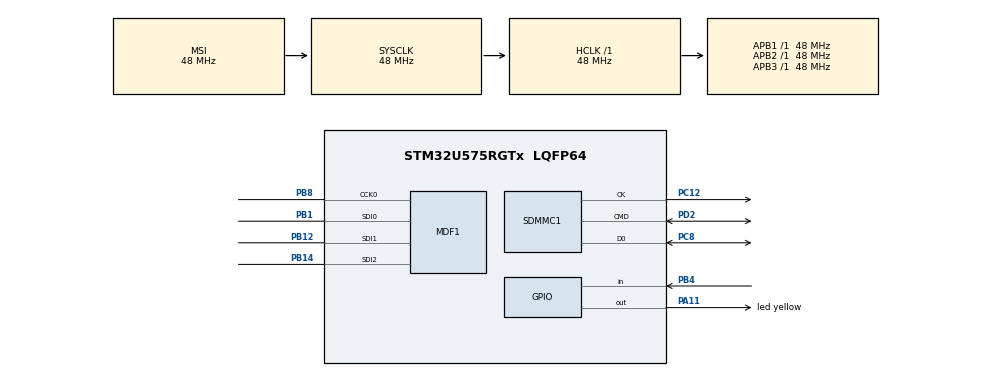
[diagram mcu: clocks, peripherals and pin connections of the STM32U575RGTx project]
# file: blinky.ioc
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CORTEX_M33_NS.userName=CORTEX_M33
GPDMA1.CIRCULARMODE_GPDMACH0=ENABLE
GPDMA1.DESTDATAWIDTH_GPDMACH0=DMA_DEST_DATAWIDTH_HALFWORD
GPDMA1.DESTINC_GPDMACH0=DMA_DINC_INCREMENTED
GPDMA1.IPHANDLE_GPDMACH0-SIMPLEREQUEST_GPDMACH0=__NULL
GPDMA1.REQUEST_GPDMACH0=GPDMA1_REQUEST_MDF1_FLT5
GPDMA1.SRCDATAWIDTH_GPDMACH0=DMA_SRC_DATAWIDTH_HALFWORD
MDF1.MDF_COMPARAM_ActivationOutputClock=ENABLE
MDF1.MDF_COMPARAM_Divider=2
MDF1.MDF_COMPARAM_InterleavedFilters=5
MDF1.MDF_COMPARAM_ProcClockDivider=2
MDF1.MDF_DFLT0_CIC_Mode=MDF_ONE_FILTER_SINC5
MDF1.MDF_DFLT0_Decimation=32
MDF1.MDF_DFLT0_HighPassCutOffFrequency=MDF_HPF_CUTOFF_0_00125FPCM
MDF1.MDF_DFLT0_HighPassFilterActivation=ENABLE
MDF1.MDF_DFLT0_ReshapeFilterActivation=ENABLE
MDF1.MDF_DFLT1_CIC_Mode=MDF_ONE_FILTER_SINC5
MDF1.MDF_DFLT1_Decimation=32
MDF1.MDF_DFLT1_FilterBistreamFront=FRONT_FALLING
MDF1.MDF_DFLT1_HighPassCutOffFrequency=MDF_HPF_CUTOFF_0_00125FPCM
MDF1.MDF_DFLT1_HighPassFilterActivation=ENABLE
MDF1.MDF_DFLT1_ReshapeFilterActivation=ENABLE
MDF1.MDF_DFLT2_CIC_Mode=MDF_ONE_FILTER_SINC5
MDF1.MDF_DFLT2_Decimation=32
MDF1.MDF_DFLT2_HighPassCutOffFrequency=MDF_HPF_CUTOFF_0_00125FPCM
MDF1.MDF_DFLT2_HighPassFilterActivation=ENABLE
MDF1.MDF_DFLT2_ReshapeFilterActivation=ENABLE
MDF1.MDF_DFLT2_SITF_Choice=MDF_DFLT_SITF1
MDF1.MDF_DFLT3_CIC_Mode=MDF_ONE_FILTER_SINC5
MDF1.MDF_DFLT3_Decimation=32
MDF1.MDF_DFLT3_FilterBistreamFront=FRONT_FALLING
MDF1.MDF_DFLT3_HighPassCutOffFrequency=MDF_HPF_CUTOFF_0_00125FPCM
MDF1.MDF_DFLT3_HighPassFilterActivation=ENABLE
MDF1.MDF_DFLT3_ReshapeFilterActivation=ENABLE
MDF1.MDF_DFLT3_SITF_Choice=MDF_DFLT_SITF1
MDF1.MDF_DFLT4_CIC_Mode=MDF_ONE_FILTER_SINC5
MDF1.MDF_DFLT4_Decimation=32
MDF1.MDF_DFLT4_HighPassCutOffFrequency=MDF_HPF_CUTOFF_0_00125FPCM
MDF1.MDF_DFLT4_HighPassFilterActivation=ENABLE
MDF1.MDF_DFLT4_ReshapeFilterActivation=ENABLE
MDF1.MDF_DFLT4_SITF_Choice=MDF_DFLT_SITF2
MDF1.MDF_DFLT5_CIC_Mode=MDF_ONE_FILTER_SINC5
MDF1.MDF_DFLT5_Decimation=32
MDF1.MDF_DFLT5_FilterBistreamFront=FRONT_FALLING
MDF1.MDF_DFLT5_HighPassCutOffFrequency=MDF_HPF_CUTOFF_0_00125FPCM
MDF1.MDF_DFLT5_HighPassFilterActivation=ENABLE
MDF1.MDF_DFLT5_ReshapeFilterActivation=ENABLE
MDF1.MDF_DFLT5_SITF_Choice=MDF_DFLT_SITF2
Mcu.Family=STM32U5
Mcu.Name=STM32U575RGTx
Mcu.Package=LQFP64
NVIC.GPDMA1_Channel0_IRQn=true\:0\:0\:false\:false\:true\:false\:true\:true
NVIC.MDF1_FLT0_IRQn=true\:0\:0\:false\:false\:true\:true\:true\:true
NVIC.MDF1_FLT1_IRQn=true\:0\:0\:false\:false\:true\:true\:true\:true
NVIC.MDF1_FLT2_IRQn=true\:0\:0\:false\:false\:true\:true\:true\:true
NVIC.MDF1_FLT3_IRQn=true\:0\:0\:false\:false\:true\:true\:true\:true
NVIC.MDF1_FLT4_IRQn=true\:0\:0\:false\:false\:true\:true\:true\:true
NVIC.MDF1_FLT5_IRQn=true\:0\:0\:false\:false\:true\:true\:true\:true
NVIC.PriorityGroup=NVIC_PRIORITYGROUP_4
NVIC.SDMMC1_IRQn=true\:0\:0\:false\:false\:true\:true\:true\:true
PA11.GPIO_Label=led yellow
PA11.Signal=GPIO_Output
PB1.Mode=MOD_MDF_SITF0_CCK0
PB1.Signal=MDF1_SDI0
PB12.Mode=MOD_MDF_SITF1_CCK0
PB12.Signal=MDF1_SDI1
PB14.Mode=MOD_MDF_SITF2_CCK0
PB14.Signal=MDF1_SDI2
PB4\ (NJTRST).GPIO_PuPd=GPIO_PULLUP
PB4\ (NJTRST).Signal=GPIO_Input
PB8.Mode=MOD_MDF_CCK0
PB8.Signal=MDF1_CCK0
PC12.Mode=SD_1_bit
PC12.Signal=SDMMC1_CK
PC8.Mode=SD_1_bit
PC8.Signal=SDMMC1_D0
PD2.Mode=SD_1_bit
PD2.Signal=SDMMC1_CMD
ProjectManager.HeapSize=0x200
ProjectManager.StackSize=0x400
ProjectManager.TargetToolchain=CMake
RCC.ADCFreq_Value=16000000
RCC.AHBFreq_Value=48000000
RCC.APB1Freq_Value=48000000
RCC.APB1TimFreq_Value=48000000
RCC.APB2Freq_Value=48000000
RCC.APB2TimFreq_Value=48000000
RCC.APB3Freq_Value=48000000
RCC.CortexFreq_Value=48000000
RCC.EPOD_VALUE=48000000
RCC.HCLKFreq_Value=48000000
RCC.HSE_VALUE=16000000
RCC.HSI48_VALUE=48000000
RCC.HSI_VALUE=16000000
RCC.LSE_VALUE=32768
RCC.LSIDIV_VALUE=32000
RCC.MSIClockRange=RCC_MSIRANGE_0
RCC.MSI_VALUE=48000000
RCC.MdfClockSelection=RCC_MDF1CLKSOURCE_PLL1
RCC.PLL1P=11
RCC.PLLFRACN=0
RCC.PLLM=3
RCC.PLLN=8
RCC.SYSCLKFreq_VALUE=48000000
RCC.USBFreq_Value=48000000
RCC.VCOOutputFreq_Value=128000000
SDMMC1.ClockDiv=0
SDMMC1.ClockEdge=SDMMC_CLOCK_EDGE_FALLING
VP_GPDMA1_VS_GPDMACH0.Mode=SIMPLEREQUEST_GPDMACH0
VP_ICACHE_VS_ENABLE_ICACHE_MEMORY.Mode=Memoryregions
VP_ICACHE_VS_ICACHE.Mode=DirectMappedCache
VP_LPBAMQUEUE_VS_QUEUE.Mode=QUEUEMODE
VP_LPBAM_VS_SIG1.Mode=SmartRun
VP_LPBAM_VS_SIG4.Mode=LPDMA1
VP_MDF1_VS_MDF_DFLT0.Mode=MOD_MDF_DFLT0
VP_MDF1_VS_MDF_DFLT1.Mode=MOD_MDF_DFLT1
VP_MDF1_VS_MDF_DFLT2.Mode=MOD_MDF_DFLT2
VP_MDF1_VS_MDF_DFLT3.Mode=MOD_MDF_DFLT3
VP_MDF1_VS_MDF_DFLT4.Mode=MOD_MDF_DFLT4
VP_MDF1_VS_MDF_DFLT5.Mode=MOD_MDF_DFLT5
VP_MEMORYMAP_VS_MEMORYMAP.Mode=CurAppReg
VP_PWR_VS_SECSignals.Mode=Security/Privilege
board=custom

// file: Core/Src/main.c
/* USER CODE BEGIN Header */
/**
  ******************************************************************************
  * @file           : main.c
  * @brief          : Main program body
  ******************************************************************************
  * @attention
  *
  * Copyright (c) 2025 STMicroelectronics.
  * All rights reserved.
  *
  * This software is licensed under terms that can be found in the LICENSE file
  * in the root directory of this software component.
  * If no LICENSE file comes with this software, it is provided AS-IS.
  *
  ******************************************************************************
  */
/* USER CODE END Header */
#include "main.h"

/* USER CODE BEGIN Includes */

#include <stdint.h>
#include <stdio.h>
#include <inttypes.h>
#include <math.h>
#include "app_pipeline.h"
#include "ff.h"
#include "sd_diskio_dma_standalone.h"
#include "stm32u5xx.h"
#include "stm32u5xx_hal.h"
#include "stm32u5xx_hal_conf.h"
#include "stm32u5xx_hal_def.h"
#include "stm32u5xx_hal_gpio.h"
#include "stm32u5xx_hal_mdf.h"

/* USER CODE END Includes */

MDF_HandleTypeDef MdfHandle0;
MDF_FilterConfigTypeDef MdfFilterConfig0;
MDF_HandleTypeDef MdfHandle1;
MDF_FilterConfigTypeDef MdfFilterConfig1;
MDF_HandleTypeDef MdfHandle2;
MDF_FilterConfigTypeDef MdfFilterConfig2;
MDF_HandleTypeDef MdfHandle3;
MDF_FilterConfigTypeDef MdfFilterConfig3;
MDF_HandleTypeDef MdfHandle4;
MDF_FilterConfigTypeDef MdfFilterConfig4;
MDF_HandleTypeDef MdfHandle5;
MDF_FilterConfigTypeDef MdfFilterConfig5;
DMA_NodeTypeDef Node_GPDMA1_Channel0;
DMA_QListTypeDef List_GPDMA1_Channel0;
DMA_HandleTypeDef handle_GPDMA1_Channel0;

SD_HandleTypeDef hsd1;

/* USER CODE BEGIN PV */
MDF_DmaConfigTypeDef pDmaConfig;

/*------definition of buffer constants ------*/
#define SAMPLES_COUNT 4096
#define SAMPLES_BYTES SAMPLES_COUNT*2
#define HALFSAMPLES SAMPLES_COUNT/2
#define HALFSAMPLESBYTES SAMPLES_BYTES/2

/*-------definition of buffer for DMAs--------*/

// called INTlVD as it DMA interleaved samples from filter0 and transfers it to the SD card
volatile int16_t INTLVD[SAMPLES_COUNT] __attribute__((aligned(32)));
int8_t  INTLVD_ready = 0;
int32_t bytes_recorded = 0;
// debugging
uint8_t MDF_DMA_ERROR_FLAG = 0;

/* ------ buffer split in two for double buffering -------*/
volatile uint16_t* SDBUFFER1 = (uint16_t*)INTLVD;
volatile uint16_t* SDBUFFER2 = (uint16_t*)INTLVD + HALFSAMPLES;

/* --------DMA FLAGS-------------*/
volatile uint8_t CPLT, HALFCPLT = 0;
uint8_t MDFTESTFLAG = 0;

/* ---------Audio hardware parameters -------*/
uint32_t sample_rate = 24000;
uint32_t channels = 6;
uint32_t bitrate = 16;

// this tells the pipeline what recording number we are on
uint32_t recording_number = 1;

/* USER CODE END PV */

void SystemClock_Config(void);
static void MX_GPIO_Init(void);
static void MX_GPDMA1_Init(void);
static void MX_ICACHE_Init(void);
static void MX_MDF1_Init(void);
static void MX_SDMMC1_SD_Init(void);

int main(void)
{

  /* MCU Configuration--------------------------------------------------------*/

  /* Reset of all peripherals, Initializes the Flash interface and the Systick. */
  HAL_Init();

  /* Configure the system clock */
  SystemClock_Config();

  /* Initialize all configured peripherals */
  MX_GPIO_Init();
  MX_GPDMA1_Init();
  MX_ICACHE_Init();
  MX_MDF1_Init();
  MX_SDMMC1_SD_Init();
  /* USER CODE BEGIN 2 */

  /*--------- initialise SD card -----------*/
  if(SD_Pipeline_Init() != PIPELINE_OK){
    // printf("init of sd failed\n");
    Error_Handler();
  }

  /* ----------start the pipeline------------ */

  // this function creates the header for a new WAV file
  if(SD_Pipeline_NewRec(recording_name, recording_number, sample_rate, channels, bitrate,
    recording_length)!=PIPELINE_OK){
    // printf("init of pipeline failed\n");
    Error_Handler();
  }

  /*---------link DMA to MDF-----------*/

  pDmaConfig.MsbOnly = ENABLE;
  pDmaConfig.Address = (uint32_t) INTLVD;
  // data length is samples count * 2, because 16 bit sample consists of 2 bytes
  pDmaConfig.DataLength = SAMPLES_COUNT * 2;

  /*------start all the MDF instances -------*/

  if(HAL_MDF_AcqStart(&MdfHandle1, &MdfFilterConfig1) != HAL_OK){
    Error_Handler();
  }
  if(HAL_MDF_AcqStart(&MdfHandle2, &MdfFilterConfig2) != HAL_OK){
    Error_Handler();
  }
  if(HAL_MDF_AcqStart(&MdfHandle3, &MdfFilterConfig3) != HAL_OK){
    Error_Handler();
  }
  if(HAL_MDF_AcqStart(&MdfHandle4, &MdfFilterConfig4) != HAL_OK){
    Error_Handler();
  }
  if(HAL_MDF_AcqStart(&MdfHandle5, &MdfFilterConfig5) != HAL_OK){
    Error_Handler();
  }
  // configure filter0 as the interleaved communicator with the SD card
  if(HAL_MDF_AcqStart_DMA(&MdfHandle0, &MdfFilterConfig0, &pDmaConfig) != HAL_OK){
    f_close(&SD_File_PIPELINE);
    Error_Handler();
  }

  /* USER CODE END 2 */

  /* Infinite loop */
  /* USER CODE BEGIN WHILE */
  while (1)
  {
     if (INTLVD_ready)
      {
        HAL_MDF_AcqStop_DMA(&MdfHandle0);
        SD_Pipeline_StopRec();
        // printf("SUCCESS! File creation complete\n");
        INTLVD_ready = 0;
        while(1){
          HAL_GPIO_TogglePin(led_yellow_GPIO_Port, led_yellow_Pin);
          HAL_Delay(200);
        }
      }

      if(HALFCPLT){
        //unset flag
        HALFCPLT = 0;

        //calculate how many bytes are left in audio recording
        int32_t temp = (bytes_to_read<HALFSAMPLESBYTES) ? bytes_to_read : HALFSAMPLESBYTES;

        //if more than zero, continue - else set flag for completed transfer
        if(temp > 0){
        if(SD_Pipeline_Write((uint8_t*) SDBUFFER1, temp) != PIPELINE_OK) MDF_DMA_ERROR_FLAG = 1;

        // decrement bytes to read
        bytes_to_read = bytes_to_read - temp;
        }
        else{
          INTLVD_ready = 1;
        }
      }

      //duplicate above logic
      if(CPLT){
        // int32_t write_start = HAL_GetTick();
        //unset flag
        CPLT = 0;
        //calculate how many bytes are left in audio recording
        int32_t temp = (bytes_to_read<HALFSAMPLESBYTES) ? bytes_to_read : HALFSAMPLESBYTES;

        //if more than zero, continue - else set flag for completed transfer
        if(temp > 0){
        if(SD_Pipeline_Write((uint8_t*) SDBUFFER2, temp) != PIPELINE_OK) MDF_DMA_ERROR_FLAG = 1;

        //decrement bytes to read
        bytes_to_read = bytes_to_read - temp;
        // int32_t write_end = HAL_GetTick();
        // printf("wrote %li bytes in %li ms\n",temp, write_end-write_start);
        }
        else{
          INTLVD_ready = 1;
        }

      }

    /* USER CODE END WHILE */

  }
}

void SystemClock_Config(void)
{
  RCC_OscInitTypeDef RCC_OscInitStruct = {0};
  RCC_ClkInitTypeDef RCC_ClkInitStruct = {0};

  /** Configure the main internal regulator output voltage
  */
  if (HAL_PWREx_ControlVoltageScaling(PWR_REGULATOR_VOLTAGE_SCALE3) != HAL_OK)
  {
    Error_Handler();
  }

  /** Initializes the CPU, AHB and APB buses clocks
  */
  RCC_OscInitStruct.OscillatorType = RCC_OSCILLATORTYPE_MSI;
  RCC_OscInitStruct.MSIState = RCC_MSI_ON;
  RCC_OscInitStruct.MSICalibrationValue = RCC_MSICALIBRATION_DEFAULT;
  RCC_OscInitStruct.MSIClockRange = RCC_MSIRANGE_0;
  RCC_OscInitStruct.PLL.PLLState = RCC_PLL_ON;
  RCC_OscInitStruct.PLL.PLLSource = RCC_PLLSOURCE_MSI;
  RCC_OscInitStruct.PLL.PLLMBOOST = RCC_PLLMBOOST_DIV4;
  RCC_OscInitStruct.PLL.PLLM = 3;
  RCC_OscInitStruct.PLL.PLLN = 8;
  RCC_OscInitStruct.PLL.PLLP = 11;
  RCC_OscInitStruct.PLL.PLLQ = 2;
  RCC_OscInitStruct.PLL.PLLR = 2;
  RCC_OscInitStruct.PLL.PLLRGE = RCC_PLLVCIRANGE_1;
  RCC_OscInitStruct.PLL.PLLFRACN = 0;
  if (HAL_RCC_OscConfig(&RCC_OscInitStruct) != HAL_OK)
  {
    Error_Handler();
  }

  /** Initializes the CPU, AHB and APB buses clocks
  */
  RCC_ClkInitStruct.ClockType = RCC_CLOCKTYPE_HCLK|RCC_CLOCKTYPE_SYSCLK
                              |RCC_CLOCKTYPE_PCLK1|RCC_CLOCKTYPE_PCLK2
                              |RCC_CLOCKTYPE_PCLK3;
  RCC_ClkInitStruct.SYSCLKSource = RCC_SYSCLKSOURCE_MSI;
  RCC_ClkInitStruct.AHBCLKDivider = RCC_SYSCLK_DIV1;
  RCC_ClkInitStruct.APB1CLKDivider = RCC_HCLK_DIV1;
  RCC_ClkInitStruct.APB2CLKDivider = RCC_HCLK_DIV1;
  RCC_ClkInitStruct.APB3CLKDivider = RCC_HCLK_DIV1;

  if (HAL_RCC_ClockConfig(&RCC_ClkInitStruct, FLASH_LATENCY_1) != HAL_OK)
  {
    Error_Handler();
  }
}

static void MX_GPDMA1_Init(void)
{

  /* Peripheral clock enable */
  __HAL_RCC_GPDMA1_CLK_ENABLE();

  /* GPDMA1 interrupt Init */
    HAL_NVIC_SetPriority(GPDMA1_Channel0_IRQn, 0, 0);
    HAL_NVIC_EnableIRQ(GPDMA1_Channel0_IRQn);

}

static void MX_ICACHE_Init(void)
{

  /** Enable instruction cache in 1-way (direct mapped cache)
  */
  if (HAL_ICACHE_ConfigAssociativityMode(ICACHE_1WAY) != HAL_OK)
  {
    Error_Handler();
  }
  if (HAL_ICACHE_Enable() != HAL_OK)
  {
    Error_Handler();
  }

}

static void MX_MDF1_Init(void)
{

  /* USER CODE BEGIN MDF1_Init 0 */

  MdfHandle3.Init.FilterBistream = MDF_BITSTREAM1_FALLING;

  MdfHandle4.Init.FilterBistream = MDF_BITSTREAM2_RISING;

  MdfHandle5.Init.FilterBistream = MDF_BITSTREAM2_FALLING;

  /* USER CODE END MDF1_Init 0 */

  /**
    MdfHandle0 structure initialization and HAL_MDF_Init function call
  */
  MdfHandle0.Instance = MDF1_Filter0;
  MdfHandle0.Init.CommonParam.InterleavedFilters = 5;
  MdfHandle0.Init.CommonParam.ProcClockDivider = 2;
  MdfHandle0.Init.CommonParam.OutputClock.Activation = ENABLE;
  MdfHandle0.Init.CommonParam.OutputClock.Pins = MDF_OUTPUT_CLOCK_0;
  MdfHandle0.Init.CommonParam.OutputClock.Divider = 2;
  MdfHandle0.Init.CommonParam.OutputClock.Trigger.Activation = DISABLE;
  MdfHandle0.Init.SerialInterface.Activation = ENABLE;
  MdfHandle0.Init.SerialInterface.Mode = MDF_SITF_LF_MASTER_SPI_MODE;
  MdfHandle0.Init.SerialInterface.ClockSource = MDF_SITF_CCK0_SOURCE;
  MdfHandle0.Init.SerialInterface.Threshold = 4;
  MdfHandle0.Init.FilterBistream = MDF_BITSTREAM0_RISING;
  if (HAL_MDF_Init(&MdfHandle0) != HAL_OK)
  {
    Error_Handler();
  }

  /**
    MdfFilterConfig0, MdfOldConfig0 and/or MdfScdConfig0 structures initialization

    WARNING : only structures are filled, no specific init function call for filter
  */
  MdfFilterConfig0.DataSource = MDF_DATA_SOURCE_BSMX;
  MdfFilterConfig0.Delay = 0;
  MdfFilterConfig0.CicMode = MDF_ONE_FILTER_SINC5;
  MdfFilterConfig0.DecimationRatio = 32;
  MdfFilterConfig0.Offset = 0;
  MdfFilterConfig0.Gain = 0;
  MdfFilterConfig0.ReshapeFilter.Activation = ENABLE;
  MdfFilterConfig0.ReshapeFilter.DecimationRatio = MDF_RSF_DECIMATION_RATIO_4;
  MdfFilterConfig0.HighPassFilter.Activation = ENABLE;
  MdfFilterConfig0.HighPassFilter.CutOffFrequency = MDF_HPF_CUTOFF_0_00125FPCM;
  MdfFilterConfig0.Integrator.Activation = DISABLE;
  MdfFilterConfig0.SoundActivity.Activation = DISABLE;
  MdfFilterConfig0.AcquisitionMode = MDF_MODE_ASYNC_CONT;
  MdfFilterConfig0.FifoThreshold = MDF_FIFO_THRESHOLD_NOT_EMPTY;
  MdfFilterConfig0.DiscardSamples = 0;

  /**
    MdfHandle1 structure initialization and HAL_MDF_Init function call
  */
  MdfHandle1.Instance = MDF1_Filter1;
  MdfHandle1.Init.CommonParam.InterleavedFilters = 5;
  MdfHandle1.Init.CommonParam.ProcClockDivider = 2;
  MdfHandle1.Init.CommonParam.OutputClock.Activation = ENABLE;
  MdfHandle1.Init.CommonParam.OutputClock.Pins = MDF_OUTPUT_CLOCK_0;
  MdfHandle1.Init.CommonParam.OutputClock.Divider = 2;
  MdfHandle1.Init.CommonParam.OutputClock.Trigger.Activation = DISABLE;
  MdfHandle1.Init.SerialInterface.Activation = ENABLE;
  MdfHandle1.Init.SerialInterface.Mode = MDF_SITF_LF_MASTER_SPI_MODE;
  MdfHandle1.Init.SerialInterface.ClockSource = MDF_SITF_CCK0_SOURCE;
  MdfHandle1.Init.SerialInterface.Threshold = 4;
  MdfHandle1.Init.FilterBistream = MDF_BITSTREAM0_FALLING;
  if (HAL_MDF_Init(&MdfHandle1) != HAL_OK)
  {
    Error_Handler();
  }

  /**
    MdfFilterConfig1, MdfOldConfig1 and/or MdfScdConfig1 structures initialization

    WARNING : only structures are filled, no specific init function call for filter
  */
  MdfFilterConfig1.DataSource = MDF_DATA_SOURCE_BSMX;
  MdfFilterConfig1.Delay = 0;
  MdfFilterConfig1.CicMode = MDF_ONE_FILTER_SINC5;
  MdfFilterConfig1.DecimationRatio = 32;
  MdfFilterConfig1.Offset = 0;
  MdfFilterConfig1.Gain = 0;
  MdfFilterConfig1.ReshapeFilter.Activation = ENABLE;
  MdfFilterConfig1.ReshapeFilter.DecimationRatio = MDF_RSF_DECIMATION_RATIO_4;
  MdfFilterConfig1.HighPassFilter.Activation = ENABLE;
  MdfFilterConfig1.HighPassFilter.CutOffFrequency = MDF_HPF_CUTOFF_0_00125FPCM;
  MdfFilterConfig1.Integrator.Activation = DISABLE;
  MdfFilterConfig1.AcquisitionMode = MDF_MODE_ASYNC_CONT;
  MdfFilterConfig1.FifoThreshold = MDF_FIFO_THRESHOLD_NOT_EMPTY;
  MdfFilterConfig1.DiscardSamples = 0;

  /**
    MdfHandle2 structure initialization and HAL_MDF_Init function call
  */
  MdfHandle2.Instance = MDF1_Filter2;
  MdfHandle2.Init.CommonParam.InterleavedFilters = 5;
  MdfHandle2.Init.CommonParam.ProcClockDivider = 2;
  MdfHandle2.Init.CommonParam.OutputClock.Activation = ENABLE;
  MdfHandle2.Init.CommonParam.OutputClock.Pins = MDF_OUTPUT_CLOCK_0;
  MdfHandle2.Init.CommonParam.OutputClock.Divider = 2;
  MdfHandle2.Init.CommonParam.OutputClock.Trigger.Activation = DISABLE;
  MdfHandle2.Init.SerialInterface.Activation = ENABLE;
  MdfHandle2.Init.SerialInterface.Mode = MDF_SITF_LF_MASTER_SPI_MODE;
  MdfHandle2.Init.SerialInterface.ClockSource = MDF_SITF_CCK0_SOURCE;
  MdfHandle2.Init.SerialInterface.Threshold = 4;
  MdfHandle2.Init.FilterBistream = MDF_BITSTREAM1_RISING;
  if (HAL_MDF_Init(&MdfHandle2) != HAL_OK)
  {
    Error_Handler();
  }

  /**
    MdfFilterConfig2, MdfOldConfig2 and/or MdfScdConfig2 structures initialization

    WARNING : only structures are filled, no specific init function call for filter
  */
  MdfFilterConfig2.DataSource = MDF_DATA_SOURCE_BSMX;
  MdfFilterConfig2.Delay = 0;
  MdfFilterConfig2.CicMode = MDF_ONE_FILTER_SINC5;
  MdfFilterConfig2.DecimationRatio = 32;
  MdfFilterConfig2.Offset = 0;
  MdfFilterConfig2.Gain = 0;
  MdfFilterConfig2.ReshapeFilter.Activation = ENABLE;
  MdfFilterConfig2.ReshapeFilter.DecimationRatio = MDF_RSF_DECIMATION_RATIO_4;
  MdfFilterConfig2.HighPassFilter.Activation = ENABLE;
  MdfFilterConfig2.HighPassFilter.CutOffFrequency = MDF_HPF_CUTOFF_0_00125FPCM;
  MdfFilterConfig2.Integrator.Activation = DISABLE;
  MdfFilterConfig2.SoundActivity.Activation = DISABLE;
  MdfFilterConfig2.AcquisitionMode = MDF_MODE_ASYNC_CONT;
  MdfFilterConfig2.FifoThreshold = MDF_FIFO_THRESHOLD_NOT_EMPTY;
  MdfFilterConfig2.DiscardSamples = 0;

  /**
    MdfHandle3 structure initialization and HAL_MDF_Init function call
  */
  MdfHandle3.Instance = MDF1_Filter3;
  MdfHandle3.Init.CommonParam.InterleavedFilters = 5;
  MdfHandle3.Init.CommonParam.ProcClockDivider = 2;
  MdfHandle3.Init.CommonParam.OutputClock.Activation = ENABLE;
  MdfHandle3.Init.CommonParam.OutputClock.Pins = MDF_OUTPUT_CLOCK_0;
  MdfHandle3.Init.CommonParam.OutputClock.Divider = 2;
  MdfHandle3.Init.CommonParam.OutputClock.Trigger.Activation = DISABLE;
  MdfHandle3.Init.SerialInterface.Activation = DISABLE;
  if (HAL_MDF_Init(&MdfHandle3) != HAL_OK)
  {
    Error_Handler();
  }

  /**
    MdfFilterConfig3, MdfOldConfig3 and/or MdfScdConfig3 structures initialization

    WARNING : only structures are filled, no specific init function call for filter
  */
  MdfFilterConfig3.DataSource = MDF_DATA_SOURCE_BSMX;
  MdfFilterConfig3.Delay = 0;
  MdfFilterConfig3.CicMode = MDF_ONE_FILTER_SINC5;
  MdfFilterConfig3.DecimationRatio = 32;
  MdfFilterConfig3.Offset = 0;
  MdfFilterConfig3.Gain = 0;
  MdfFilterConfig3.ReshapeFilter.Activation = ENABLE;
  MdfFilterConfig3.ReshapeFilter.DecimationRatio = MDF_RSF_DECIMATION_RATIO_4;
  MdfFilterConfig3.HighPassFilter.Activation = ENABLE;
  MdfFilterConfig3.HighPassFilter.CutOffFrequency = MDF_HPF_CUTOFF_0_00125FPCM;
  MdfFilterConfig3.Integrator.Activation = DISABLE;
  MdfFilterConfig3.SoundActivity.Activation = DISABLE;
  MdfFilterConfig3.AcquisitionMode = MDF_MODE_ASYNC_CONT;
  MdfFilterConfig3.FifoThreshold = MDF_FIFO_THRESHOLD_NOT_EMPTY;
  MdfFilterConfig3.DiscardSamples = 0;

  /**
    MdfHandle4 structure initialization and HAL_MDF_Init function call
  */
  MdfHandle4.Instance = MDF1_Filter4;
  MdfHandle4.Init.CommonParam.InterleavedFilters = 5;
  MdfHandle4.Init.CommonParam.ProcClockDivider = 2;
  MdfHandle4.Init.CommonParam.OutputClock.Activation = ENABLE;
  MdfHandle4.Init.CommonParam.OutputClock.Pins = MDF_OUTPUT_CLOCK_0;
  MdfHandle4.Init.CommonParam.OutputClock.Divider = 2;
  MdfHandle4.Init.CommonParam.OutputClock.Trigger.Activation = DISABLE;
  MdfHandle4.Init.SerialInterface.Activation = DISABLE;
  if (HAL_MDF_Init(&MdfHandle4) != HAL_OK)
  {
    Error_Handler();
  }

  /**
    MdfFilterConfig4, MdfOldConfig4 and/or MdfScdConfig4 structures initialization

    WARNING : only structures are filled, no specific init function call for filter
  */
  MdfFilterConfig4.DataSource = MDF_DATA_SOURCE_BSMX;
  MdfFilterConfig4.Delay = 0;
  MdfFilterConfig4.CicMode = MDF_ONE_FILTER_SINC5;
  MdfFilterConfig4.DecimationRatio = 32;
  MdfFilterConfig4.Offset = 0;
  MdfFilterConfig4.Gain = 0;
  MdfFilterConfig4.ReshapeFilter.Activation = ENABLE;
  MdfFilterConfig4.ReshapeFilter.DecimationRatio = MDF_RSF_DECIMATION_RATIO_4;
  MdfFilterConfig4.HighPassFilter.Activation = ENABLE;
  MdfFilterConfig4.HighPassFilter.CutOffFrequency = MDF_HPF_CUTOFF_0_00125FPCM;
  MdfFilterConfig4.Integrator.Activation = DISABLE;
  MdfFilterConfig4.SoundActivity.Activation = DISABLE;
  MdfFilterConfig4.AcquisitionMode = MDF_MODE_ASYNC_CONT;
  MdfFilterConfig4.FifoThreshold = MDF_FIFO_THRESHOLD_NOT_EMPTY;
  MdfFilterConfig4.DiscardSamples = 0;

  /**
    MdfHandle5 structure initialization and HAL_MDF_Init function call
  */
  MdfHandle5.Instance = MDF1_Filter5;
  MdfHandle5.Init.CommonParam.InterleavedFilters = 5;
  MdfHandle5.Init.CommonParam.ProcClockDivider = 2;
  MdfHandle5.Init.CommonParam.OutputClock.Activation = ENABLE;
  MdfHandle5.Init.CommonParam.OutputClock.Pins = MDF_OUTPUT_CLOCK_0;
  MdfHandle5.Init.CommonParam.OutputClock.Divider = 2;
  MdfHandle5.Init.CommonParam.OutputClock.Trigger.Activation = DISABLE;
  MdfHandle5.Init.SerialInterface.Activation = DISABLE;
  if (HAL_MDF_Init(&MdfHandle5) != HAL_OK)
  {
    Error_Handler();
  }

  /**
    MdfFilterConfig5, MdfOldConfig5 and/or MdfScdConfig5 structures initialization

    WARNING : only structures are filled, no specific init function call for filter
  */
  MdfFilterConfig5.DataSource = MDF_DATA_SOURCE_BSMX;
  MdfFilterConfig5.Delay = 0;
  MdfFilterConfig5.CicMode = MDF_ONE_FILTER_SINC5;
  MdfFilterConfig5.DecimationRatio = 32;
  MdfFilterConfig5.Offset = 0;
  MdfFilterConfig5.Gain = 0;
  MdfFilterConfig5.ReshapeFilter.Activation = ENABLE;
  MdfFilterConfig5.ReshapeFilter.DecimationRatio = MDF_RSF_DECIMATION_RATIO_4;
  MdfFilterConfig5.HighPassFilter.Activation = ENABLE;
  MdfFilterConfig5.HighPassFilter.CutOffFrequency = MDF_HPF_CUTOFF_0_00125FPCM;
  MdfFilterConfig5.Integrator.Activation = DISABLE;
  MdfFilterConfig5.SoundActivity.Activation = DISABLE;
  MdfFilterConfig5.AcquisitionMode = MDF_MODE_ASYNC_CONT;
  MdfFilterConfig5.FifoThreshold = MDF_FIFO_THRESHOLD_NOT_EMPTY;
  MdfFilterConfig5.DiscardSamples = 0;

}

static void MX_SDMMC1_SD_Init(void)
{

  hsd1.Instance = SDMMC1;
  hsd1.Init.ClockEdge = SDMMC_CLOCK_EDGE_FALLING;
  hsd1.Init.ClockPowerSave = SDMMC_CLOCK_POWER_SAVE_DISABLE;
  hsd1.Init.BusWide = SDMMC_BUS_WIDE_1B;
  hsd1.Init.HardwareFlowControl = SDMMC_HARDWARE_FLOW_CONTROL_DISABLE;
  hsd1.Init.ClockDiv = 0;
  if (HAL_SD_Init(&hsd1) != HAL_OK)
  {
    Error_Handler();
  }

}

static void MX_GPIO_Init(void)
{
  GPIO_InitTypeDef GPIO_InitStruct = {0};

  /* GPIO Ports Clock Enable */
  __HAL_RCC_GPIOB_CLK_ENABLE();
  __HAL_RCC_GPIOC_CLK_ENABLE();
  __HAL_RCC_GPIOA_CLK_ENABLE();
  __HAL_RCC_GPIOD_CLK_ENABLE();

  /*Configure GPIO pin Output Level */
  HAL_GPIO_WritePin(led_yellow_GPIO_Port, led_yellow_Pin, GPIO_PIN_RESET);

  /*Configure GPIO pin : led_yellow_Pin */
  GPIO_InitStruct.Pin = led_yellow_Pin;
  GPIO_InitStruct.Mode = GPIO_MODE_OUTPUT_PP;
  GPIO_InitStruct.Pull = GPIO_NOPULL;
  GPIO_InitStruct.Speed = GPIO_SPEED_FREQ_LOW;
  HAL_GPIO_Init(led_yellow_GPIO_Port, &GPIO_InitStruct);

  /*Configure GPIO pin : PB4 */
  GPIO_InitStruct.Pin = GPIO_PIN_4;
  GPIO_InitStruct.Mode = GPIO_MODE_INPUT;
  GPIO_InitStruct.Pull = GPIO_PULLUP;
  HAL_GPIO_Init(GPIOB, &GPIO_InitStruct);

}

/* USER CODE BEGIN 4 */

/* ------Interrupt funcitons -------*/
void HAL_MDF_AcqCpltCallback(MDF_HandleTypeDef *hmdf){
  // set complete flag to 1
  CPLT = 1;
}
void HAL_MDF_AcqHalfCpltCallback(MDF_HandleTypeDef *hmdf){
  // set half complete flag to 1
  HALFCPLT = 1;
}

/* USER CODE END 4 */

void Error_Handler(void)
{
  __disable_irq();
  while (1)
  {
  }
}
